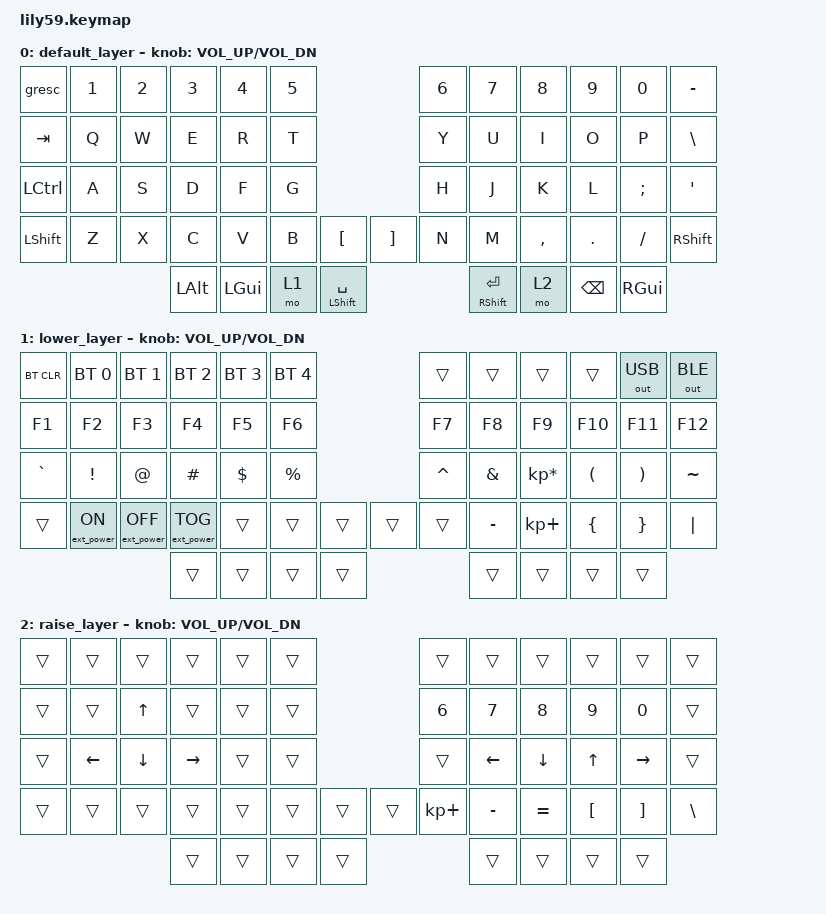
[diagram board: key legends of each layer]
/*
 * Copyright (c) 2020 The ZMK Contributors
 *
 * SPDX-License-Identifier: MIT
 */

#include <behaviors.dtsi>
#include <dt-bindings/zmk/keys.h>
#include <dt-bindings/zmk/bt.h>
#include <dt-bindings/zmk/ext_power.h>
#include <dt-bindings/zmk/outputs.h>

/ {
	behaviors {
		gresc: grave_escape {
			compatible = "zmk,behavior-mod-morph";
			label = "GRAVE_ESCAPE";
			#binding-cells = <0>;
			bindings = <&kp ESC>, <&kp GRAVE>;
			mods = <(MOD_LGUI|MOD_LSFT|MOD_RSFT)>;
			keep-mods = <(MOD_LGUI|MOD_LSFT)>;
		};
	};
	keymap {
		compatible = "zmk,keymap";

		default_layer {
// ------------------------------------------------------------------------------------------------------------
// |  ESC  |  1  |  2  |  3   |  4   |  5   |                   |  6   |  7    |  8    |  9   |   0   |   -   |
// |  TAB  |  Q  |  W  |  E   |  R   |  T   |                   |  Y   |  U    |  I    |  O   |   P   |   \   |
// |  CTRL |  A  |  S  |  D   |  F   |  G   |                   |  H   |  J    |  K    |  L   |   ;   |   '   |
// | SHIFT |  Z  |  X  |  C   |  V   |  B   |   "["  |  |  "]"  |  N   |  M    |  ,    |  .   |   /   | SHIFT |
//                     | ALT  | GUI  | LOWER|  SPACE |  | ENTER | RAISE| BSPC  | GUI   |
			bindings = <
&gresc   &kp N1 &kp N2 &kp N3   &kp N4   &kp N5                     &kp N6 &kp N7   &kp N8    &kp N9  &kp N0   &kp MINUS
&kp TAB   &kp Q  &kp W  &kp E    &kp R    &kp T                      &kp Y  &kp U    &kp I     &kp O   &kp P    &kp BSLH
&kp LCTRL &kp A  &kp S  &kp D    &kp F    &kp G                      &kp H  &kp J    &kp K     &kp L   &kp SEMI &kp SQT
&kp LSHFT &kp Z  &kp X  &kp C    &kp V    &kp B  &kp LBKT   &kp RBKT &kp N  &kp M    &kp COMMA &kp DOT &kp FSLH &kp RSHFT
                        &kp LALT &kp LGUI &mo 1  &mt LSHIFT SPACE  &mt RSHFT RET  &mo 2  &kp BSPC &kp RGUI
			>;

			sensor-bindings = <&inc_dec_kp C_VOL_UP C_VOL_DN>;
		};

		lower_layer {
// ------------------------------------------------------------------------------------------------------------
// | BTCLR | BT1 | BT2 |  BT3 |  BT4 |  BT5 |                   |      |       |       |      |  USB  |  BLE  |
// |  F1   |  F2 |  F3 |  F4  |  F5  |  F6  |                   |  F7  |  F8   |  F9   |  F10 |  F11  |  F12  |
// |   `   |  !  |  @  |  #   |  $   |  %   |                   |  ^   |  &    |  *    |  (   |   )   |   ~   |
// |       |     |     |      |      |      |        |  |       |      |  _    |  +    |  {   |   }   |  "|"  |
//                     |      |      |      |        |  |       |      |       |       |
			bindings = <
&bt BT_CLR &bt BT_SEL 0     &bt BT_SEL 1      &bt BT_SEL 2      &bt BT_SEL 3 &bt BT_SEL 4                 &trans    &trans    &trans          &trans    &out OUT_USB &out OUT_BLE
&kp F1     &kp F2           &kp F3            &kp F4            &kp F5       &kp F6                       &kp F7    &kp F8    &kp F9          &kp F10   &kp F11   &kp F12
&kp GRAVE  &kp EXCL         &kp AT            &kp HASH          &kp DOLLAR   &kp PRCNT                    &kp CARET &kp AMPS  &kp KP_MULTIPLY &kp LPAR  &kp RPAR  &kp TILDE
&trans  &ext_power EP_ON &ext_power EP_OFF &ext_power EP_TOG &trans       &trans    &trans   &trans    &trans    &kp MINUS &kp KP_PLUS     &kp LBRC  &kp RBRC  &kp PIPE
                                              &trans            &trans       &trans    &trans   &trans    &trans    &trans    &trans
			>;

			sensor-bindings = <&inc_dec_kp C_VOL_UP C_VOL_DN>;
		};

		raise_layer {
// ------------------------------------------------------------------------------------------------------------
// |       |     |     |      |      |      |                   |      |       |       |      |       |       |
// |       |     |  UP |      |      |      |                   |  6   |   7   |   8   |  9   |   0   |       |
// |       | LEFT| DOWN| RIGHT|      |      |                   |      |   <-  |   v   |  ^   |  ->   |       |
// |       |     |     |      |      |      |        |  |       |  +   |   -   |   =   |  [   |   ]   |   \   |
//                     |      |      |      |        |  |       |      |       |       |
			bindings = <
&trans  &trans &trans &trans  &trans  &trans                       &trans      &trans    &trans    &trans   &trans    &trans
&trans  &trans &kp UP &trans  &trans  &trans                       &kp N6      &kp N7    &kp N8    &kp N9   &kp N0    &trans
&trans &kp LEFT  &kp DOWN &kp RIGHT  &trans  &trans                &trans      &kp LEFT  &kp DOWN  &kp UP   &kp RIGHT &trans
&trans  &trans &trans &trans  &trans  &trans   &trans      &trans    &kp KP_PLUS &kp MINUS &kp EQUAL &kp LBKT &kp RBKT  &kp BSLH
                        &trans  &trans  &trans    &trans   &trans    &trans      &trans    &trans
			>;

			sensor-bindings = <&inc_dec_kp C_VOL_UP C_VOL_DN>;
		};
	};
};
